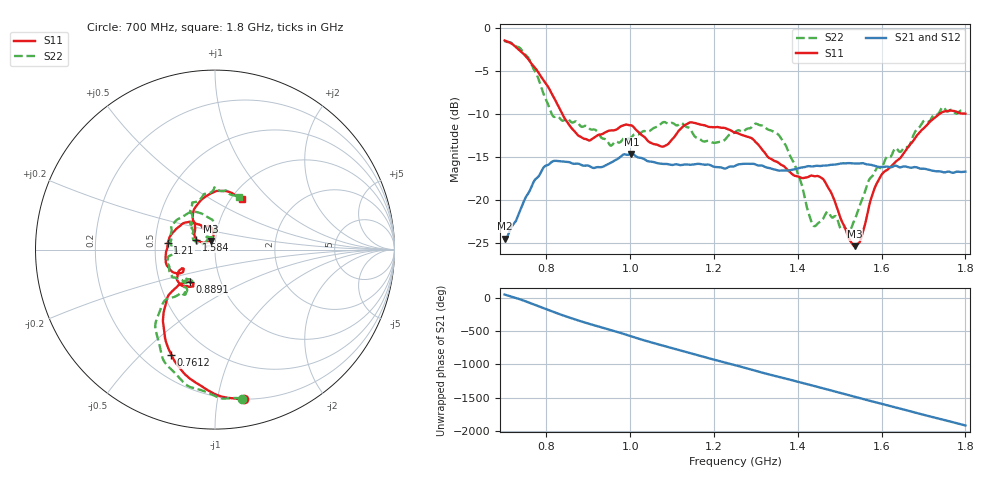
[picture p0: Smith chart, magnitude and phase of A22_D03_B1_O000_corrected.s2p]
! Created with skrf 1.9.0 (http://scikit-rf.org).
# Hz S RI R 50.0
!freq ReS11 ImS11 ReS21 ImS21 ReS12 ImS12 ReS22 ImS22
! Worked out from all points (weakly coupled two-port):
!   1601 points, 700 MHz to 1.8 GHz, reference 50 ohm
!   highest |S21| = -14.64 dB at 1.002 GHz (marker M1); lowest = -24.5 dB at 700.7 MHz (marker M2)
!   lowest |S11| = -25.4 dB at 1.535 GHz (marker M3), VSWR 1.11, Z = 47.5 + j4.61 ohm
!   |S11| at or under -10 dB: 838 MHz to 1.738 GHz (899.8 MHz wide, 69.9 % of centre)
!   |S22| runs from -23.8 to -1.5 dB; largest |S21 - S12| = 0.0035
!   S11 on the Smith chart (normalised r, x): 700 MHz: 0.20, -1.19; 761.2 MHz: 0.32, -0.62; 889.1 MHz: 0.71, -0.27; 1.21 GHz: 0.58, +0.05; 1.584 GHz: 0.81, +0.09; 1.8 GHz: 1.12, +0.70
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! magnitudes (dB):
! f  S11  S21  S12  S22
! 700 MHz  -1.4  -24.5  -24.3  -1.5
! 700.7 MHz  -1.4  -24.5  -24.2  -1.5
! 761.2 MHz  -3.9  -18.8  -18.7  -3.8
! 814.8 MHz  -7.8  -15.5  -15.6  -10.2
! 883.6 MHz  -12.7  -15.9  -15.8  -11.5
! 889.1 MHz  -12.9  -16.0  -15.9  -11.4
! 953 MHz  -11.9  -15.7  -15.7  -13.7
! 1.002 GHz  -11.3  -14.6  -14.7  -12.7
! 1.067 GHz  -13.6  -15.7  -15.7  -11.4
! 1.142 GHz  -11.0  -15.9  -15.9  -11.7
! 1.21 GHz  -11.5  -16.2  -16.2  -13.3
! 1.25 GHz  -12.1  -16.0  -16.0  -12.1
! 1.356 GHz  -15.8  -16.6  -16.5  -12.5
! 1.394 GHz  -17.2  -16.4  -16.4  -16.1
! 1.434 GHz  -17.2  -16.1  -16.1  -22.7
! 1.465 GHz  -17.9  -16.0  -16.0  -21.7
! 1.521 GHz  -24.4  -15.7  -15.7  -23.8
! 1.535 GHz  -25.4  -15.7  -15.8  -22.3
! 1.584 GHz  -18.5  -16.0  -16.0  -16.7
! 1.617 GHz  -16.4  -16.1  -16.1  -15.0
! 1.739 GHz  -10.0  -16.7  -16.7  -9.7
! 1.8 GHz  -10.0  -16.7  -16.7  -9.8
